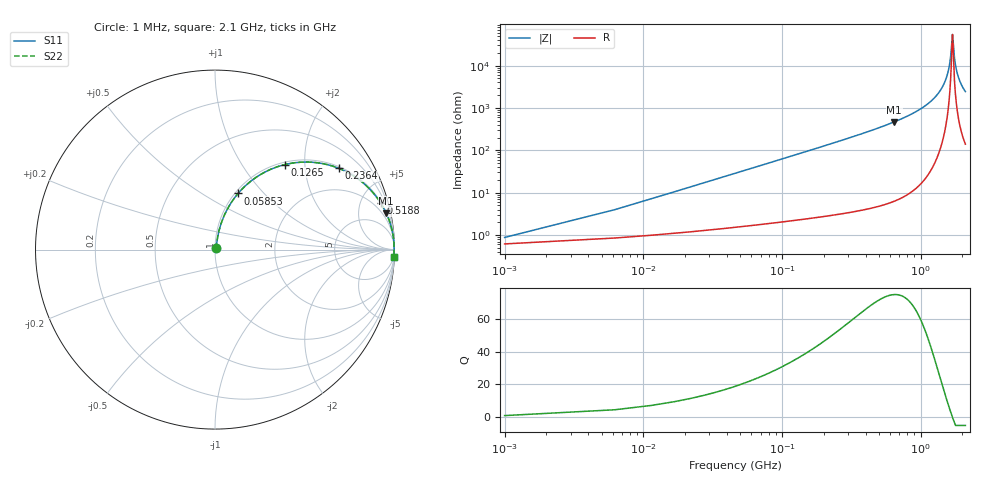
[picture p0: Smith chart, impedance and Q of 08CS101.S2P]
! Coilcraft 0805CS-101 Chip Inductor
! 11 June 2002
# MHZ S MA R 50
!Freq  MagS11  AngS11  MagS21  AngS21  MagS12  AngS12  MagS22  AngS22
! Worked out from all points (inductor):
!   403 points, 1 MHz to 2.1 GHz, reference 50 ohm
!   read as one part in series: L = 99.1 nH near 11.46 MHz
!   highest Q = 74.8 at 644.3 MHz (marker M1), where L = 116 nH
!   self-resonance near 1.69 GHz
!   S11 on the Smith chart (normalised r, x): 1 MHz: 1.01, +0.01; 58.53 MHz: 1.03, +0.73; 126.5 MHz: 1.04, +1.58; 236.3 MHz: 1.06, +3.00; 518.8 MHz: 1.10, +7.13; 2.1 GHz: 4, -49
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1  0.008705 45.0  0.9939 -0.4  0.9939 -0.4  0.008705 45.0
16.69  0.1028 78.1  0.984 -5.9  0.984 -5.9  0.1028 78.1
21.92  0.1342 77.3  0.9794 -7.7  0.9794 -7.7  0.1342 77.3
37.61  0.2255 73.5  0.9607 -13.0  0.9607 -13.0  0.2255 73.5
58.53  0.3382 67.7  0.9259 -19.7  0.9259 -19.7  0.3382 67.7
126.52  0.6128 50.6  0.7732 -37.8  0.7732 -37.8  0.6128 50.6
236.35  0.8248 33.3  0.5494 -55.5  0.5494 -55.5  0.8248 33.3
351.41  0.9109 23.5  0.3983 -65.6  0.3983 -65.6  0.9109 23.5
518.77  0.9594 15.6  0.2692 -73.6  0.2692 -73.6  0.9594 15.6
644.29  0.9754 12.0  0.208 -77.2  0.208 -77.2  0.9754 12.0
701.82  0.9801 10.7  0.1858 -78.5  0.1858 -78.5  0.9801 10.7
1052.23  0.994 5.3  0.09323 -83.6  0.09323 -83.6  0.994 5.3
1402.64  0.9977 2.1  0.03602 -85.3  0.03602 -85.3  0.9977 2.1
1512.47  0.9981 1.2  0.02164 -84.3  0.02164 -84.3  0.9981 1.2
1590.92  0.9982 0.7  0.0121 -81.0  0.0121 -81.0  0.9982 0.7
1643.22  0.9982 0.3  0.006112 -72.7  0.006112 -72.7  0.9982 0.3
1690.29  0.9982 0.0  0.001894 -15.4  0.001894 -15.4  0.9982 0.0
1705.98  0.9982 -0.1  0.002222 34.0  0.002222 34.0  0.9982 -0.1
1753.05  0.9981 -0.4  0.006665 73.2  0.006665 73.2  0.9981 -0.4
1805.35  0.998 -0.7  0.01211 80.1  0.01211 80.1  0.998 -0.7
1873.34  0.9978 -1.1  0.01907 82.8  0.01907 82.8  0.9978 -1.1
2100  0.9968 -2.3  0.04086 84.4  0.04086 84.4  0.9968 -2.3
